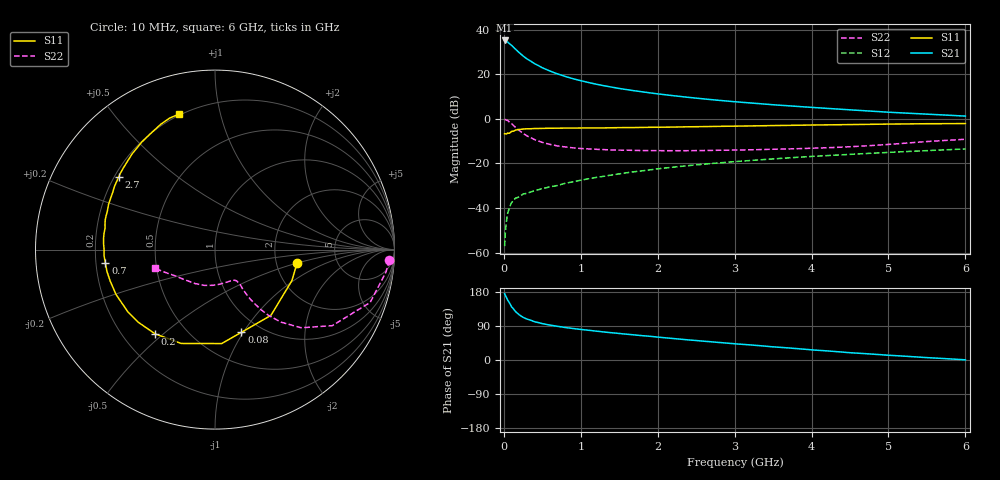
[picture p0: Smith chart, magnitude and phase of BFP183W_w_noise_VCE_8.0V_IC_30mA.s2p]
! Infineon Technologies  Discrete & RF Semiconductors
! BFP183W
! VCE =  8.0 V,  IC =  30 mA
! Common Emitter S-Parameters:  Jan 2017
# GHz  S  MA  R  50
!  f  S11  S21  S12  S22
! GHz  MAG  ANG  MAG  ANG  MAG  ANG  MAG  ANG
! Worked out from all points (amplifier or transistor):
!   77 points, 10 MHz to 6 GHz, reference 50 ohm
!   highest |S21| = 35.1 dB at 10 MHz (marker M1)
!   |S21| within 3 dB of that: start of sweep to 124.4 MHz
!   unconditionally stable (mu >= 1): 1.02 GHz to 3.434 GHz
!   at 130 MHz: K = 0.29, MSG = 34.1 dB, |S12| = -36.4 dB
!   at 2.2 GHz: K = 1.06, MAG = 14.5 dB, |S12| = -21.7 dB
!   at 6 GHz: K = 0.86, MSG = 7.4 dB, |S12| = -13.5 dB
!   lowest NFmin = 1.39 dB at 450 MHz
!   S11 on the Smith chart (normalised r, x): 10 MHz: 2.62, -0.50; 80 MHz: 0.81, -0.98; 200 MHz: 0.33, -0.47; 700 MHz: 0.24, -0.06; 2.7 GHz: 0.22, +0.32; 6 GHz: 0.19, +0.75
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0.01  0.4634 -9.3  56.83 175.4  0.0014 98.2  0.9735 -3.5
0.02  0.4621 -22.0  55.95 170.5  0.0029 93.2  0.9603 -7.6
0.05  0.4812 -49.7  52.38 158.0  0.0076 72.9  0.9134 -18.8
0.08  0.4838 -72.3  46.96 148.2  0.0109 65.9  0.8261 -26.8
0.1  0.5248 -85.9  44.26 140.5  0.0132 63.2  0.7784 -33.0
0.15  0.5558 -109.8  36.5 128.1  0.0166 54.1  0.6466 -42.3
0.2  0.5758 -125.4  30.25 119.2  0.0178 51.1  0.5465 -47.7
0.25  0.5887 -136.5  25.59 112.7  0.0206 47.5  0.4714 -50.9
0.3  0.5967 -144.5  21.99 108.0  0.0214 48.8  0.4146 -52.8
0.4  0.6054 -155.6  17.15 100.9  0.0245 49.3  0.3405 -54.5
0.5  0.6096 -163.1  13.91 96.0  0.0272 50.8  0.2958 -54.9
0.6  0.6142 -168.6  11.73 92.1  0.0299 52.9  0.2665 -54.9
0.7  0.6154 -173.1  10.09 88.8  0.0321 55.2  0.2461 -54.4
0.9  0.618 179.8  7.889 83.1  0.0388 57.8  0.2234 -54.8
1.1  0.6241 174.2  6.497 78.5  0.0452 60.2  0.2116 -55.5
1.5  0.6334 165.0  4.783 70.0  0.0583 61.9  0.1986 -59.7
2.1  0.6489 153.1  3.451 58.6  0.079 61.2  0.1927 -71.0
2.7  0.672 143.0  2.683 48.0  0.0994 59.2  0.1957 -86.1
3.1  0.687 136.9  2.337 41.4  0.1128 57.1  0.2004 -96.5
4.1  0.7276 123.1  1.756 25.4  0.1465 51.5  0.2214 -123.1
5.1  0.7632 112.5  1.375 11.4  0.1798 45.3  0.2744 -148.9
6  0.7811 104.7  1.149 0.4  0.2108 39.3  0.3479 -162.5
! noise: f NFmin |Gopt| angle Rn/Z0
0.45  1.39  0.27  180  0.1
0.9  1.43  0.3  -178  0.09
1.9  1.92  0.45  -156  0.1
2.4  2.17  0.5  -152  0.15
